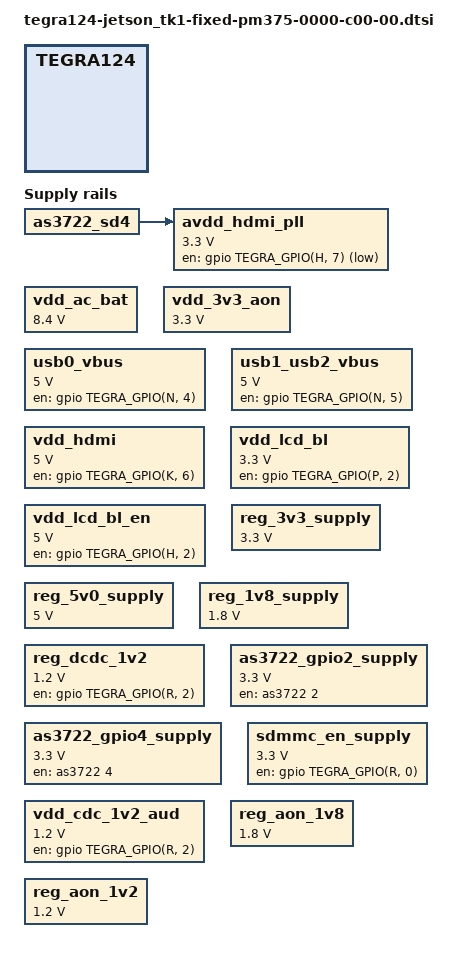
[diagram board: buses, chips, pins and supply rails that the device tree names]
#include <dt-bindings/gpio/tegra-gpio.h>

/ {
	regulators {
		compatible = "simple-bus";
		#address-cells = <1>;
		#size-cells = <0>;

		vdd_ac_bat: regulator@0 {
		    compatible = "regulator-fixed";
		    reg = <0>;
		    regulator-name = "vdd-ac-bat";
		    regulator-min-microvolt = <8400000>;
		    regulator-max-microvolt = <8400000>;

		    consumers {
			    c1 {
				    regulator-consumer-supply = "vdd_sys_bl";
			    };
			    c2 {
				    regulator-consumer-supply = "vddio_pex_sata";
			    };
		    };
	    };

		vdd_3v3_aon: regulator@1 {
		     compatible = "regulator-fixed";
		     reg = <1>;
		     regulator-name = "vdd-3v3-aon";
		     regulator-min-microvolt = <3300000>;
		     regulator-max-microvolt = <3300000>;

		     consumers {
			     c1 {
				     regulator-consumer-supply = "vdd_3v3_emmc";
			     };
			     c2 {
				     regulator-consumer-supply = "vdd_com_3v3";
			     };
		     };
	     };

		usb0_vbus: regulator@2 {
		   compatible = "regulator-fixed-sync";
		   reg = <2>;
		   regulator-name = "usb0-vbus";
		   regulator-min-microvolt = <5000000>;
		   regulator-max-microvolt = <5000000>;
		   gpio = <&gpio TEGRA_GPIO(N, 4) 0>;
		   enable-active-high;
		   gpio-open-drain;

		   consumers {
			   c1 {
				   regulator-consumer-supply = "usb_vbus";
				   regulator-consumer-device = "tegra-ehci.0";
			   };
			   c2 {
				   regulator-consumer-supply = "usb_vbus";
				   regulator-consumer-device = "tegra-otg";
			   };
		   };
	   };

		usb1_usb2_vbus: regulator@3 {
			compatible = "regulator-fixed-sync";
			reg = <3>;
			regulator-name = "usb1-usb2-vbus";
			regulator-min-microvolt = <5000000>;
			regulator-max-microvolt = <5000000>;
			gpio = <&gpio TEGRA_GPIO(N, 5) 0>;
			enable-active-high;
			gpio-open-drain;

			consumers {
				c1 {
					regulator-consumer-supply = "usb_vbus";
					regulator-consumer-device = "tegra-ehci.2";
				};
				c3 {
					regulator-consumer-supply = "usb_vbus";
					regulator-consumer-device = "tegra-ehci.1";
				};
			};
		};

		vdd_hdmi: regulator@4 {
		  compatible = "regulator-fixed-sync";
		  reg = <4>;
		  regulator-name = "vdd-hdmi";
		  regulator-min-microvolt = <5000000>;
		  regulator-max-microvolt = <5000000>;
		  gpio = <&gpio TEGRA_GPIO(K, 6) 0>;
		  enable-active-high;
		  startup-delay-us = <5000>;

		  consumers {
			  c1 {
				  regulator-consumer-supply = "vdd_hdmi_5v0";
				  regulator-consumer-device = "tegradc.1";
			  };
			  c2 {
				  regulator-consumer-supply = "vdd_hdmi_5v0";
				  regulator-consumer-device = "tegradc.0";
			  };
		  };
	  };

		avdd_hdmi_pll: regulator@5 {
		       compatible = "regulator-fixed-sync";
		       reg = <5>;
		       regulator-name = "avdd-hdmi-pll";
		       regulator-min-microvolt = <3300000>;
		       regulator-max-microvolt = <3300000>;
		       gpio = <&gpio TEGRA_GPIO(H, 7) 0>;
		       vin-supply = <&as3722_sd4>;
		       consumers {
			       c1 {
				       regulator-consumer-supply = "avdd_hdmi_pll";
				       regulator-consumer-device = "tegradc.1";
			       };
			       c2 {
				       regulator-consumer-supply = "avdd_hdmi_pll";
				       regulator-consumer-device = "tegradc.0";
			       };
		       };
	       };

		vdd_lcd_bl: regulator@6 {
		    compatible = "regulator-fixed-sync";
		    reg = <6>;
		    regulator-name = "vdd-lcd-bl";
		    regulator-min-microvolt = <3300000>;
		    regulator-max-microvolt = <3300000>;
		    gpio = <&gpio TEGRA_GPIO(P, 2) 0>;
		    enable-active-high;

		    consumers {
			    c1 {
				    regulator-consumer-supply = "vdd_lcd_bl";
			    };
		    };
	    };

		vdd_lcd_bl_en: regulator@7 {
		       compatible = "regulator-fixed-sync";
		       reg = <7>;
		       regulator-name = "vdd-lcd-bl-en";
		       regulator-min-microvolt = <5000000>;
		       regulator-max-microvolt = <5000000>;
		       enable-active-high;
		       gpio = <&gpio TEGRA_GPIO(H, 2) 0>;

		       consumers {
			       c1 {
				       regulator-consumer-supply = "vdd_lcd_bl_en";
			       };
		       };
	       };

		reg_3v3_supply: regulator@8 {
			compatible = "regulator-fixed";
			reg = <8>;
			regulator-name = "reg-3v3-supply";
			regulator-min-microvolt = <3300000>;
			regulator-max-microvolt = <3300000>;

			consumers {
				c1 {
					regulator-consumer-supply = "hvdd_pex";
				};
				c2 {
					regulator-consumer-supply = "hvdd_pex_pll";
				};
				c3 {
					regulator-consumer-supply = "vdd_sys_cam_3v3";
				};
				c4 {
					regulator-consumer-supply = "micvdd";
					regulator-consumer-device = "tegra-snd-rt5645.0";
				};
				c5 {
					regulator-consumer-supply = "micvdd";
					regulator-consumer-device = "tegra-snd-rt5639.0";
				};
				c6 {
					regulator-consumer-supply = "vdd_gps_3v3";
				};
				c7 {
					regulator-consumer-supply = "vdd_nfc_3v3";
				};
				c8 {
					regulator-consumer-supply = "vdd_3v3_sensor";
				};
				c9 {
					regulator-consumer-supply = "vdd_kp_3v3";
				};
				c10 {
					regulator-consumer-supply = "vdd_tp_3v3";
				};
				c11 {
					regulator-consumer-supply = "vdd_dtv_3v3";
				};
				c12 {
					regulator-consumer-supply = "vdd_modem_3v3";
				};
				c13 {
					regulator-consumer-supply = "vdd";
					regulator-consumer-device = "0-004c";
				};
				c14 {
					regulator-consumer-supply = "vdd";
					regulator-consumer-device = "0-0048";
				};
				c15 {
					regulator-consumer-supply = "vdd";
					regulator-consumer-device = "0-0069";
				};
				c16 {
					regulator-consumer-supply = "vdd";
					regulator-consumer-device = "0-000c";
				};
				c17 {
					regulator-consumer-supply = "vdd";
					regulator-consumer-device = "0-0077";
				};
				c18 {
					regulator-consumer-supply = "vin";
					regulator-consumer-device = "2-0030";
				};
			};
		};

		reg_5v0_supply: regulator@9 {
			compatible = "regulator-fixed-sync";
			reg = <9>;
			regulator-name = "reg-5v0-supply";
			regulator-min-microvolt = <5000000>;
			regulator-max-microvolt = <5000000>;

			consumers {
				c1 {
					regulator-consumer-supply = "spkvdd";
					regulator-consumer-device = "tegra-snd-rt5645.0";
				};
				c2 {
					regulator-consumer-supply = "spkvdd";
					regulator-consumer-device = "tegra-snd-rt5639.0";
				};
				c3 {
					regulator-consumer-supply = "vdd_5v0_sensor";
				};
			};
		};

		reg_1v8_supply: regulator@10 {
			compatible = "regulator-fixed-sync";
			reg = <10>;
			regulator-name = "reg-1v8-supply";
			regulator-min-microvolt = <1800000>;
			regulator-max-microvolt = <1800000>;

			consumers {
				c1 {
					regulator-consumer-supply = "avdd_lvds0_pll";
				};
				c2 {
					regulator-consumer-supply = "dvdd_lcd";
				};
				c3 {
					regulator-consumer-supply = "vdd_ds_1v8";
				};
				c4 {
					regulator-consumer-supply = "avdd";
					regulator-consumer-device = "tegra-snd-rt5645.0";
				};
				c5 {
					regulator-consumer-supply = "dbvdd";
					regulator-consumer-device = "tegra-snd-rt5645.0";
				};
				c6 {
					regulator-consumer-supply = "avdd";
					regulator-consumer-device = "tegra-snd-rt5639.0";
				};
				c7 {
					regulator-consumer-supply = "dbvdd";
					regulator-consumer-device = "tegra-snd-rt5639.0";
				};
				c8 {
					regulator-consumer-supply = "dmicvdd";
					regulator-consumer-device = "tegra-snd-rt5639.0";
				};
				c9 {
					regulator-consumer-supply = "dmicvdd";
					regulator-consumer-device = "tegra-snd-rt5645.0";
				};
				c10 {
					regulator-consumer-supply = "vdd_1v8b_nfc";
				};
				c11 {
					regulator-consumer-supply = "vdd_1v8_sensor";
				};
				c12 {
					regulator-consumer-supply = "vdd_1v8_sdmmc";
				};
				c13 {
					regulator-consumer-supply = "vdd_kp_1v8";
				};
				c14 {
					regulator-consumer-supply = "vdd_tp_1v8";
				};
				c15 {
					regulator-consumer-supply = "vdd_modem_1v8";
				};
				c16 {
					regulator-consumer-supply = "vdd_1v8b";
					regulator-consumer-device = "0-0048";
				};
				c17 {
					regulator-consumer-supply = "dvdd";
					regulator-consumer-device = "spi0.0";
				};
				c18 {
					regulator-consumer-supply = "vlogic";
					regulator-consumer-device = "0-0069";
				};
				c19 {
					regulator-consumer-supply = "vid";
					regulator-consumer-device = "0-000c";
				};
				c20 {
					regulator-consumer-supply = "vddio";
					regulator-consumer-device = "0-0077";
				};
				c21 {
					regulator-consumer-supply = "avdd_pll_utmip";
					regulator-consumer-device = "tegra-udc.0";
				};
				c22 {
					regulator-consumer-supply = "avdd_pll_utmip";
					regulator-consumer-device = "tegra-ehci.0";
				};
				c23 {
					regulator-consumer-supply = "avdd_pll_utmip";
					regulator-consumer-device = "tegra-ehci.1";
				};
				c24 {
					regulator-consumer-supply = "avdd_pll_utmip";
					regulator-consumer-device = "tegra-ehci.2";
				};
				c25 {
					regulator-consumer-supply = "avdd_pll_utmip";
					regulator-consumer-device = "tegra-xhci";
				};
			};
		};

		reg_dcdc_1v2: regulator@11 {
		      compatible = "regulator-fixed-sync";
		      reg = <11>;
		      regulator-name = "reg-dcdc-1v2";
		      regulator-min-microvolt = <1200000>;
		      regulator-max-microvolt = <1200000>;
		      enable-active-high;
		      gpio = <&gpio TEGRA_GPIO(R, 2) 0>;

		      consumers {
			      c1 {
				      regulator-consumer-supply = "vdd_1v2_en";
			      };
		      };
	      };

		as3722_gpio2_supply: regulator@12 {
			     compatible = "regulator-fixed-sync";
			     reg = <12>;
			     regulator-name = "as3722-gpio2-supply";
			     regulator-min-microvolt = <3300000>;
			     regulator-max-microvolt = <3300000>;
			     gpio = <&as3722 2 0>;
			     enable-active-high;
			     regulator-boot-on;

			     consumers {
				     c1 {
					     regulator-consumer-supply = "avdd_usb";
					     regulator-consumer-device = "tegra-udc.0";
				     };
				     c2 {
					     regulator-consumer-supply = "avdd_usb";
					     regulator-consumer-device = "tegra-ehci.0";
				     };
				     c3 {
					     regulator-consumer-supply = "avdd_usb";
					     regulator-consumer-device = "tegra-ehci.1";
				     };
				     c4 {
					     regulator-consumer-supply = "avdd_usb";
					     regulator-consumer-device = "tegra-ehci.2";
				     };
				     c6 {
					     regulator-consumer-supply = "vddio_hv";
					     regulator-consumer-device = "tegradc.1";
				     };
				     c8 {
					     regulator-consumer-supply = "hvdd_sata";
				     };
			     };
		     };
		as3722_gpio4_supply: regulator@13 {
			     compatible = "regulator-fixed-sync";
			     reg = <13>;
			     regulator-name = "as3722-gpio4-supply";
			     regulator-min-microvolt = <3300000>;
			     regulator-max-microvolt = <3300000>;
			     enable-active-high;
			     gpio = <&as3722 4 0>;

			     consumers {
				     c1 {
					     regulator-consumer-supply = "avdd_lcd";
				     };
			     };
		     };
		sdmmc_en_supply: regulator@14 {
			 compatible = "regulator-fixed-sync";
			 reg = <14>;
			 regulator-name = "sdmmc-en-supply";
			 regulator-min-microvolt = <3300000>;
			 regulator-max-microvolt = <3300000>;
			 enable-active-high;
			 gpio = <&gpio TEGRA_GPIO(R, 0) 0>;

			 consumers {
				 c1 {
					 regulator-consumer-supply = "vddio_sd_slot";
					 regulator-consumer-device = "sdhci-tegra.1";
				 };
				 c2 {
					 regulator-consumer-supply = "vddio_sd_slot";
					 regulator-consumer-device = "sdhci-tegra.2";
				 };
			 };
		 };
		vdd_cdc_1v2_aud: regulator@15 {
			 compatible = "regulator-fixed-sync";
			 reg = <15>;
			 regulator-name = "vdd-cdc-1v2-aud";
			 regulator-min-microvolt = <1200000>;
			 regulator-max-microvolt = <1200000>;
			 enable-active-high;
			 gpio = <&gpio TEGRA_GPIO(R, 2) 0>;
			 startup-delay-us = <250000>;
			 consumers {
				 c1 {
					 regulator-consumer-supply = "ldoen";
					 regulator-consumer-device = "tegra-snd-rt5639.0";
				 };
			 };
		 };
		reg_aon_1v8: regulator@16 {
			 compatible = "regulator-fixed-sync";
			 reg = <16>;
			 regulator-name = "reg-aon-1v8";
			 regulator-min-microvolt = <1800000>;
			 regulator-max-microvolt = <1800000>;
			 consumers {
				 c1 {
					 regulator-consumer-supply = "vdd_1v8_emmc";
				 };
				 c2 {
					 regulator-consumer-supply = "vdd_1v8b_com_f";
				 };
				 c3 {
					 regulator-consumer-supply = "vdd_1v8b_gps_f";
				 };
			 };
		 };
		reg_aon_1v2: regulator@17 {
		     compatible = "regulator-fixed-sync";
		     reg = <17>;
		     regulator-name = "reg-aon-1v2";
		     regulator-min-microvolt = <1200000>;
		     regulator-max-microvolt = <1200000>;
		     consumers {
			     c1 {
				     regulator-consumer-supply = "vdd_1v2_bb_hsic";
			     };
		     };
	     };
	};
};
